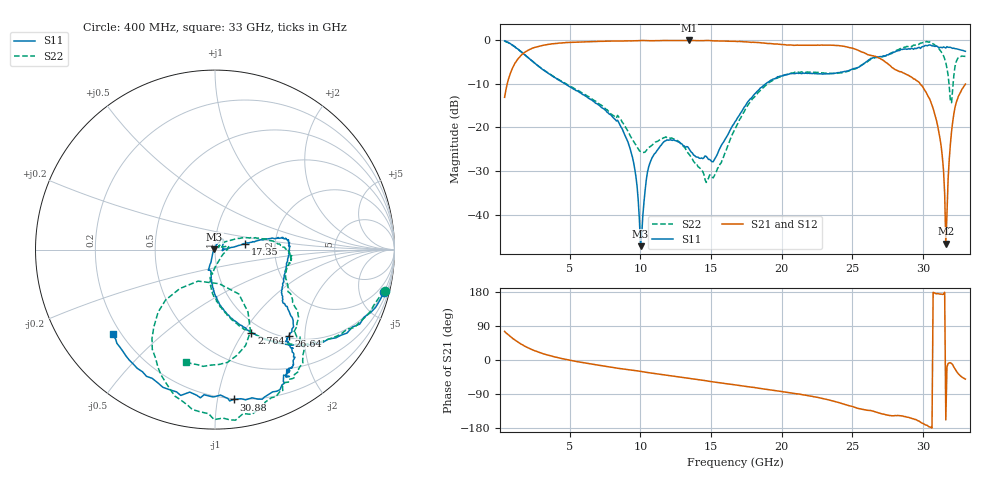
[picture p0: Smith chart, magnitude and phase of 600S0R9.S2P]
!  American Technical Ceramics  Date:  10/26/00
!  One Norden Lane
!  Huntington Station,  NY.  11746-2102
!  Tel:  (631) 622-4700  Fax:  (631) 622-4748
!  Part Number  600S0R9AW  Mounting Orientation: Horizontal
!  Description: Ultra Low ESR Microwave capacitors
!  Application: Coupling, Bypass, Tuning, DC Block
!  Filters, Matching
# GHZ S DB R 50
! Freq  |S11|  S11 Ph  |S21|  S21 Ph  |S12|  S12 Ph  |S22|  S22 Ph
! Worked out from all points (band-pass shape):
!   401 points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, 400 MHz to 33 GHz, reference 50 ohm
!   highest |S21| = -0.15 dB at 13.44 GHz (marker M1); lowest = -46.6 dB at 31.61 GHz (marker M2)
!   |S21| within 3 dB of the highest: 1.713 GHz to 25.96 GHz (24.25 GHz wide, 175 % of centre)
!   lowest |S11| = -47.1 dB at 10.02 GHz (marker M3), VSWR 1.01, Z = 49.6 + j0.11 ohm
!   |S11| at or under -10 dB: 4.634 GHz to 18.89 GHz (14.26 GHz wide, 121 % of centre)
!   |S22| runs from -32.6 to -0.2 dB; largest |S21 - S12| = 0.0084
!   S11 on the Smith chart (normalised r, x): 400 MHz: 0.94, -7.95; 2.764 GHz: 0.88, -1.09; 17.35 GHz: 1.40, +0.10; 26.64 GHz: 1.04, -1.67; 30.88 GHz: 0.19, -1.11; 33 GHz: 0.17, -0.35
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0.4  -0.25 -14.2  -13.14 75.5  -13.16 75.4  -0.24 -13.7
1.378  -2.23 -42.5  -4.23 46.6  -4.20 46.6  -2.19 -41.7
2.764  -5.94 -66.4  -1.52 21.1  -1.52 21.1  -5.93 -66.3
5.861  -12.35 -90.9  -0.49 -6.4  -0.49 -6.5  -12.07 -92.8
8.876  -21.55 -108.5  -0.26 -24.1  -0.27 -24.1  -19.53 -91.5
9.528  -28.08 -113.5  -0.23 -27.4  -0.25 -27.5  -23.22 -73.9
10.017  -47.14 165.4  -0.16 -30.1  -0.16 -30.3  -25.51 -48.9
10.588  -29.07 66.6  -0.22 -33.5  -0.22 -33.5  -24.63 -14.6
11.321  -24.71 60.5  -0.19 -37.1  -0.21 -37.2  -22.95 5.0
13.44  -24.85 35.5  -0.15 -48.6  -0.17 -48.6  -26.12 18.2
15.152  -27.86 -2.8  -0.24 -57.8  -0.23 -57.8  -31.56 40.2
16.7  -18.72 8.8  -0.35 -65.6  -0.35 -65.4  -20.35 31.6
17.352  -15.39 11.5  -0.45 -69.1  -0.44 -69.1  -16.42 24.4
22.161  -7.73 -3.0  -1.25 -95.9  -1.23 -95.7  -7.40 -8.1
26.643  -3.98 -49.3  -3.78 -137.0  -3.79 -136.5  -4.04 -43.2
27.621  -3.21 -52.4  -5.73 -146.4  -5.74 -146.1  -3.34 -45.9
29.496  -2.02 -58.8  -9.21 -157.0  -9.15 -157.3  -1.11 -66.8
30.881  -1.50 -82.9  -17.56 175.4  -17.56 176.2  -1.32 -102.9
31.615  -1.87 -100.1  -46.57 -158.2  -45.97 -153.8  -5.19 -128.3
31.941  -1.72 -110.7  -23.76 -7.6  -23.77 -8.2  -14.00 -118.3
32.185  -1.91 -118.4  -16.88 -18.8  -16.88 -18.7  -8.10 -62.1
33  -2.62 -140.3  -10.11 -50.5  -10.05 -50.7  -3.82 -104.5
